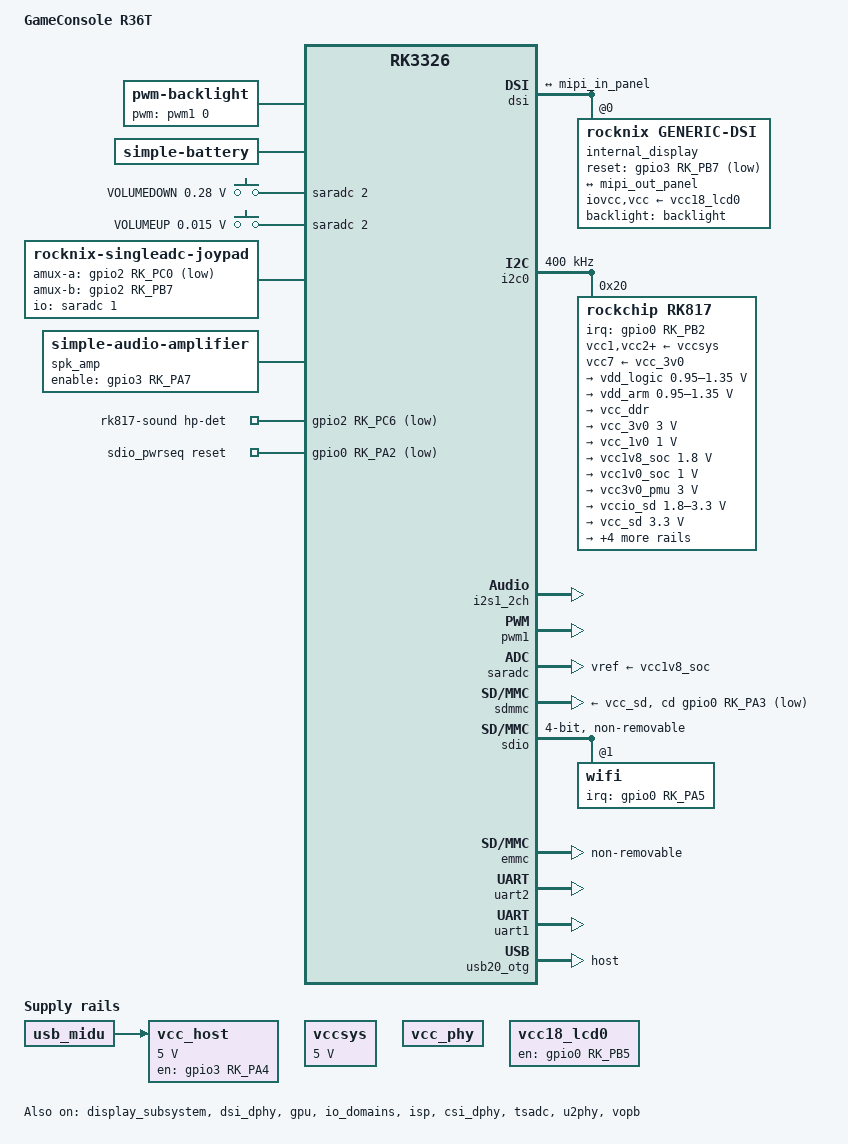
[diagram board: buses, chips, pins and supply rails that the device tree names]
// SPDX-License-Identifier: (GPL-2.0+ OR MIT)
/*
* Copyright (c) 2019 Hardkernel Co., Ltd
* Copyright (c) 2020 Theobroma Systems Design und Consulting GmbH
* Copyright (c) 2022 Maya Matuszczyk <maccraft123mc@gmail.com>
*/

/dts-v1/;
#include <dt-bindings/gpio/gpio.h>
#include <dt-bindings/input/input.h>
#include <dt-bindings/leds/common.h>
#include <dt-bindings/pinctrl/rockchip.h>
#include "rk3326.dtsi"

/ {
	model = "GameConsole R36T";
	compatible = "gameconsole,r36t", "rockchip,rk3326";
	
	aliases {
		mmc2 = &sdio;
		mmc1 = &sdmmc;
		mmc0 = &emmc;
	};
	
	chosen {
		systemd.debug_shell = "ttyS0";
	};
	
	backlight: backlight {
		compatible = "pwm-backlight";
		pwms = <&pwm1 0 25000 0>;
		brightness-levels = <
		0   1   2   3   4   5   6   7
		8   9  10  11  12  13  14  15
		16  17  18  19  20  21  22  23
		24  25  26  27  28  29  30  31
		32  33  34  35  36  37  38  39
		40  41  42  43  44  45  46  47
		48  49  50  51  52  53  54  55
		56  57  58  59  60  61  62  63
		64  65  66  67  68  69  70  71
		72  73  74  75  76  77  78  79
		80  81  82  83  84  85  86  87
		88  89  90  91  92  93  94  95
		96  97  98  99 100 101 102 103
		104 105 106 107 108 109 110 111
		112 113 114 115 116 117 118 119
		120 121 122 123 124 125 126 127
		128 129 130 131 132 133 134 135
		136 137 138 139 140 141 142 143
		144 145 146 147 148 149 150 151
		152 153 154 155 156 157 158 159
		160 161 162 163 164 165 166 167
		168 169 170 171 172 173 174 175
		176 177 178 179 180 181 182 183
		184 185 186 187 188 189 190 191
		192 193 194 195 196 197 198 199
		200 201 202 203 204 205 206 207
		208 209 210 211 212 213 214 215
		216 217 218 219 220 221 222 223
		224 225 226 227 228 229 230 231
		232 233 234 235 236 237 238 239
		240 241 242 243 244 245 246 247
		248 249 250 251 252 253 254 255>;
		default-brightness-level = <128>;
	};
	
	battery: battery {
		compatible = "simple-battery";
		charge-full-design-microamp-hours = <3000000>;
		charge-term-current-microamp = <200000>;
		constant-charge-current-max-microamp = <1500000>;
		constant-charge-voltage-max-microvolt = <4200000>;
		factory-internal-resistance-micro-ohms = <100000>;
		voltage-max-design-microvolt = <4100000>;
		voltage-min-design-microvolt = <3300000>;
		
		ocv-capacity-celsius = <20>;
		ocv-capacity-table-0 =
		<4046950 100>, <4001920 95>, <3967900 90>, <3940000 85>,
		<3910000 80>, <3870000 75>, <3830000 70>, <3790000 65>,
		<3750000 60>, <3720000 55>, <3690000 50>, <3650000 45>,
		<3610000 40>, <3570000 35>, <3540000 30>, <3500000 25>,
		<3460000 20>, <3420000 15>, <3380000 10>, <3340000 5>,
		<3300000 0>;
	};
	
	adc_keys: adc-keys {
		compatible = "adc-keys";
		io-channels = <&saradc 2>;
		io-channel-names = "buttons";
		keyup-threshold-microvolt = <1800000>;
		poll-interval = <60>;
		
		vol-down-key {
			label = "VOLUMEDOWN";
			linux,code = <KEY_VOLUMEDOWN>;
			press-threshold-microvolt = <280000>;
		};
		
		vol-up-key {
			label = "VOLUMEUP";
			linux,code = <KEY_VOLUMEUP>;
			press-threshold-microvolt = <15000>;
		};
	};
	
	joypad: rocknix-singleadc-joypad {
		compatible = "rocknix-singleadc-joypad";
		
		joypad-name = "retrogame_joypad";
		joypad-product = <0x1101>;
		joypad-revision = <0x0100>;
		joypad-vendor = <0x484B>;
		
		status = "okay";
		
		/* gpio pincontrol setup */
		pinctrl-names = "default";
		pinctrl-0 = <&btn_pins_ctrl>;
		
		/* Analog mux define */
		io-channel-names = "amux_adc";
		io-channels = <&saradc 1>;
		
		/* adc mux channel count */
		amux-count = <4>;
		amux-channel-mapping = <2 3 1 0>;
		/* adc mux select(a,b) gpio */
		amux-a-gpios = <&gpio2 RK_PC0 GPIO_ACTIVE_LOW>;
		amux-b-gpios = <&gpio2 RK_PB7 GPIO_ACTIVE_HIGH>;
		/* adc mux enable gpio */
		// amux-en-gpios = <&gpio2 RK_PB4 GPIO_ACTIVE_LOW>;
		
		/* adc calculate scale */
		button-adc-scale = <2>;
		
		/* adc deadzone range  */
		button-adc-deadzone = <64>;
		
		/*
		specifies fuzz value that is used to filter noise from
		the event stream.
		*/
		button-adc-fuzz = <32>;
		button-adc-flat = <32>;
		
		/*
		Analog Stick data tuning value(precent)
		p = positive direction, n = negative direction
		report value = (real_adc_data * tuning_value) / 100
		*/
		abs_x-p-tuning = <200>;
		abs_x-n-tuning = <200>;
		
		abs_y-p-tuning = <200>;
		abs_y-n-tuning = <200>;
		
		abs_rx-p-tuning = <200>;
		abs_rx-n-tuning = <200>;
		
		abs_ry-p-tuning = <200>;
		abs_ry-n-tuning = <200>;
		
		/* poll device interval (ms), adc read interval */
		poll-interval = <10>;
		
		/* required for RG351MP */
		invert-absx;
		invert-absy;
		
		/* gpio button auto repeat set value : default disable */
		/*
		autorepeat;
		*/
		
		/*
		*** MagicX XU10 - layoout ***
		|-------------------------------|
		| sw14  sw17         sw16  sw15 |
		|-----|-------------------|-----|
		|     |                   |     |
		|vol+ |                   | sw13|
		|vol- |                   |     |
		|     |    LCD Display    |     |
		|     |                   |     |
		|     |                   |     |
		|     |-------------------|     |
		|         sw9     sw10          |
		|                               |
		|     sw1              sw7      |
		|  sw3   sw4        sw8   sw6   |
		|     sw2              sw5      |
		|                               |
		|          sw11   sw12          |
		|                               |
		|-------|---------------|-------|
		*/
		
		/*
		joypad driver is poll-device driver.
		poll-device is does not support wakeup-source.
		*/
		sw1 {
			gpios = <&gpio3 RK_PC6 GPIO_ACTIVE_LOW>;
			label = "GPIO DPAD-UP";
			linux,code = <BTN_DPAD_UP>;
		};
		sw2 {
			gpios = <&gpio3 RK_PC7 GPIO_ACTIVE_LOW>;
			label = "GPIO DPAD-DOWN";
			linux,code = <BTN_DPAD_DOWN>;
		};
		sw3 {
			gpios = <&gpio3 RK_PC4 GPIO_ACTIVE_LOW>;
			label = "GPIO DPAD-LEFT";
			linux,code = <BTN_DPAD_LEFT>;
		};
		sw4 {
			gpios = <&gpio3 RK_PC5 GPIO_ACTIVE_LOW>;
			label = "GPIO DPAD-RIGHT";
			linux,code = <BTN_DPAD_RIGHT>;
		};
		sw5 {
			gpios = <&gpio3 RK_PC0 GPIO_ACTIVE_LOW>;
			label = "GPIO BTN-A";
			linux,code = <BTN_EAST>;
		};
		sw6 {
			gpios = <&gpio3 RK_PC1 GPIO_ACTIVE_LOW>;
			label = "GPIO BTN-B";
			linux,code = <BTN_SOUTH>;
		};
		sw7 {
			gpios = <&gpio3 RK_PC3 GPIO_ACTIVE_LOW>;
			label = "GPIO BTN-Y";
			linux,code = <BTN_WEST>;
		};
		sw8 {
			gpios = <&gpio3 RK_PC2 GPIO_ACTIVE_LOW>;
			label = "GPIO BTN-X";
			linux,code = <BTN_NORTH>;
		};
		sw9 {
			gpios = <&gpio3 RK_PD0 GPIO_ACTIVE_LOW>;
			label = "BTN_SELECT";
			linux,code = <BTN_SELECT>;
		};
		sw10 {
			gpios = <&gpio3 RK_PD1 GPIO_ACTIVE_LOW>;
			label = "BTN_START";
			linux,code = <BTN_START>;
		};
		/* this sw11 entry is SPECIAL, most RK3566 devices do not have
		this physical button but for the sake of keeping compatibility
		with ES and retroarch, this phantom button and offset will
		allow existing userspace programs to work without doing any
		new remapping thus saving lots of headaches and extra work */
		sw11 {
			gpios = <&gpio3 RK_PB2 GPIO_ACTIVE_LOW>;
			label = "GPIO BTN_F";
			linux,code = <BTN_MODE>;
		};
		sw12 {
			gpios = <&gpio2 RK_PB5 GPIO_ACTIVE_LOW>;
			label = "BTN_THUMBL";
			linux,code = <BTN_THUMBL>;
		};
		sw13 {
			gpios = <&gpio2 RK_PB6 GPIO_ACTIVE_LOW>;
			label = "BTN_THUMBR";
			linux,code = <BTN_THUMBR>;
		};
		sw14 {
			gpios = <&gpio3 RK_PB3 GPIO_ACTIVE_LOW>;
			label = "GPIO BTN_TR";
			linux,code = <BTN_TR>;
		};
		sw15 {
			gpios = <&gpio3 RK_PB4 GPIO_ACTIVE_LOW>;
			label = "GPIO BTN_TR2";
			linux,code = <BTN_TR2>;
		};
		sw16 {
			gpios = <&gpio3 RK_PB5 GPIO_ACTIVE_LOW>;
			label = "GPIO BTN_TL";
			linux,code = <BTN_TL>;
		};
		sw17 {
			gpios = <&gpio3 RK_PB6 GPIO_ACTIVE_LOW>;
			label = "GPIO BTN_TL2";
			linux,code = <BTN_TL2>;
		};
	};
	
	spk_amp: audio-amplifier {
		compatible = "simple-audio-amplifier";
		enable-gpios = <&gpio3 RK_PA7 GPIO_ACTIVE_HIGH>;
		pinctrl-0 = <&spk_amp_enable_h>;
		pinctrl-names = "default";
		sound-name-prefix = "Speaker Amp";
	};
	
	rk817-sound {
		compatible = "simple-audio-card";
		pinctrl-names = "default";
		pinctrl-0 = <&hp_det>;
		simple-audio-card,name = "rk817_ext";
		simple-audio-card,aux-devs = <&spk_amp>;
		simple-audio-card,format = "i2s";
		simple-audio-card,hp-det-gpio = <&gpio2 RK_PC6 GPIO_ACTIVE_LOW>;
		simple-audio-card,mclk-fs = <256>;
		simple-audio-card,widgets =
		"Microphone", "Mic Jack",
		"Headphone", "Headphones",
		"Speaker", "Speaker";
		simple-audio-card,routing =
		"MICL", "Mic Jack",
		"Headphones", "HPOL",
		"Headphones", "HPOR",
		"Speaker", "SPKO";
		
		simple-audio-card,codec {
			sound-dai = <&rk817>;
		};
		
		simple-audio-card,cpu {
			sound-dai = <&i2s1_2ch>;
		};
	};
	
	vccsys: vccsys {
		compatible = "regulator-fixed";
		regulator-name = "vcc3v8_sys";
		regulator-always-on;
		regulator-boot-on;
		regulator-min-microvolt = <5000000>;
		regulator-max-microvolt = <5000000>;
	};
	
	vcc-phy-regulator {
		compatible = "regulator-fixed";
		regulator-name = "vcc_phy";
		regulator-always-on;
		regulator-boot-on;
	};
	
	vcc18_lcd0: vcc18-lcd0 {
		compatible = "regulator-fixed";
		regulator-name = "vcc18_lcd0_n";
		gpio = <&gpio0 RK_PB5 GPIO_ACTIVE_HIGH>;
		enable-active-high;
		pinctrl-0 = <&vcc18_lcd_n>;
		pinctrl-names = "default";
		regulator-boot-on;
		
		regulator-state-mem {
			regulator-off-in-suspend;
		};
	};
	
	vcc_host: vcc_host {
		compatible = "regulator-fixed";
		regulator-name = "vcc_host";
		regulator-min-microvolt = <5000000>;
		regulator-max-microvolt = <5000000>;
		gpio = <&gpio3 RK_PA4 GPIO_ACTIVE_HIGH>;
		pinctrl-0 = <&vcc5_usb>;
		pinctrl-names = "default";
		enable-active-high;
		regulator-always-on;
		regulator-boot-on;
		vin-supply = <&usb_midu>;
	};
	sdio_pwrseq: sdio-pwrseq {
		compatible = "mmc-pwrseq-simple";
		/*clocks = <&rk817 1>;
		clock-names = "ext_clock";
		*/
		pinctrl-0 = <&wifi_enable_h>;
		pinctrl-names = "default";
		post-power-on-delay-ms = <2000>;
		reset-gpios = <&gpio0 RK_PA2 GPIO_ACTIVE_LOW>;
	};
	
};

&dmc {
	center-supply = <&vdd_logic>;
};

&cpu0 {
	cpu-supply = <&vdd_arm>;
};

&cpu1 {
	cpu-supply = <&vdd_arm>;
};

&cpu2 {
	cpu-supply = <&vdd_arm>;
};

&cpu3 {
	cpu-supply = <&vdd_arm>;
};

&cru {
	assigned-clocks = <&cru PLL_NPLL>,
	<&cru ACLK_BUS_PRE>, <&cru ACLK_PERI_PRE>,
	<&cru HCLK_BUS_PRE>, <&cru HCLK_PERI_PRE>,
	<&cru PCLK_BUS_PRE>, <&cru SCLK_GPU>;
	
	assigned-clock-rates = <1188000000>,
	<200000000>, <200000000>,
	<150000000>, <150000000>,
	<100000000>, <200000000>;
};

&display_subsystem {
	status = "okay";
};

&dsi {
	status = "okay";
	
	ports {
		mipi_out: port@1 {
			reg = <1>;
			
			mipi_out_panel: endpoint {
				remote-endpoint = <&mipi_in_panel>;
			};
		};
	};
	
	internal_display: panel@0 {
		compatible = "rocknix,generic-dsi";
		iovcc-supply = <&vcc18_lcd0>;
		vcc-supply = <&vcc18_lcd0>;
		reg = <0>;
		backlight = <&backlight>;
		reset-gpios = <&gpio3 RK_PB7 GPIO_ACTIVE_LOW>;
		pinctrl-names = "default";
		pinctrl-0 = <&lcd_rst>;
		panel_description =
		"G size=153,85 delays=20,20,20,120,20 format=rgb888 lanes=4 flags=0xe03",
		
		"M clock=30000 horizontal=640,46,2,44 vertical=480,16,2,14 default=1",
		"M clock=19950 horizontal=640,46,11,44 vertical=480,16,29,14",
		"M clock=19110 horizontal=640,46,5,44 vertical=480,16,10,14",
		"M clock=19650 horizontal=640,46,33,44 vertical=480,16,5,14",
		"M clock=22080 horizontal=640,46,20,44 vertical=480,16,2,14",
		"M clock=26740 horizontal=640,46,10,44 vertical=480,16,95,14",
		"M clock=23940 horizontal=640,46,11,44 vertical=480,16,29,14",
		"M clock=23040 horizontal=640,46,20,44 vertical=480,16,2,14",
		"M clock=22920 horizontal=640,46,2,44 vertical=480,16,11,14",
		"M clock=35310 horizontal=640,46,32,44 vertical=480,16,104,14",
		"M clock=34560 horizontal=640,46,20,44 vertical=480,16,2,14",
		"M clock=46080 horizontal=640,46,20,44 vertical=480,16,2,14",
		
		"I seq=ff30", "I seq=ff52", "I seq=ff01",
		"I seq=e300",
		"I seq=2510",
		"I seq=286f", "I seq=2901", "I seq=2adf", "I seq=2c22",
		"I seq=c30f",
		"I seq=379c",
		"I seq=38a7", "I seq=3941",
		"I seq=8020",
		"I seq=9167", "I seq=9267",
		"I seq=a055", "I seq=a150", "I seq=a358", "I seq=a49c", "I seq=a702",
		"I seq=a801", "I seq=a921", "I seq=aafc", "I seq=ab28", "I seq=ac06", "I seq=ad06", "I seq=ae06", "I seq=af03",
		"I seq=b008", "I seq=b126", "I seq=b228", "I seq=b328", "I seq=b403", "I seq=b508", "I seq=b626", "I seq=b708",
		"I seq=b826",
		"I seq=c000", "I seq=c100", "I seq=c200",
		"I seq=ff30", "I seq=ff52", "I seq=ff02",
		"I seq=b002",
		"I seq=d002",
		"I seq=b10f",
		"I seq=d110",
		"I seq=b211",
		"I seq=d212",
		"I seq=b332",
		"I seq=d333",
		"I seq=b436",
		"I seq=d436",
		"I seq=b53c",
		"I seq=d53c",
		"I seq=b620",
		"I seq=d620",
		"I seq=b73e",
		"I seq=d73e",
		"I seq=b80e",
		"I seq=d80d",
		"I seq=b905",
		"I seq=d905",
		"I seq=ba11",
		"I seq=da12",
		"I seq=bb11",
		"I seq=db11",
		"I seq=bc13",
		"I seq=dc14",
		"I seq=bd14",
		"I seq=dd14",
		"I seq=be16",
		"I seq=de18",
		"I seq=bf0e",
		"I seq=df0f",
		"I seq=c017",
		"I seq=e017",
		"I seq=c107",
		"I seq=e108",
		"I seq=ff30", "I seq=ff52", "I seq=ff03",
		"I seq=088a", "I seq=098b",
		"I seq=3000", "I seq=3100", "I seq=3200", "I seq=3300", "I seq=3461", "I seq=35d4", "I seq=3624", "I seq=3703",
		"I seq=4086", "I seq=4187", "I seq=4284", "I seq=4385", "I seq=4411", "I seq=45de", "I seq=46dd", "I seq=4711",
		"I seq=48e0", "I seq=49df",
		"I seq=5082", "I seq=5183", "I seq=5280", "I seq=5381", "I seq=5411", "I seq=55e2", "I seq=56e1", "I seq=5711",
		"I seq=58e4", "I seq=59e3",
		"I seq=820f", "I seq=830f", "I seq=8400", "I seq=850f", "I seq=860f", "I seq=870e",
		"I seq=880e", "I seq=8906", "I seq=8a06", "I seq=8b07", "I seq=8c07", "I seq=8d04", "I seq=8e04", "I seq=8f05",
		"I seq=9005",
		"I seq=980f", "I seq=990f", "I seq=9a00", "I seq=9b0f", "I seq=9c0f", "I seq=9d0e", "I seq=9e0e", "I seq=9f06",
		"I seq=a006", "I seq=a107", "I seq=a207", "I seq=a304", "I seq=a404", "I seq=a505", "I seq=a605",
		"I seq=e002", "I seq=e152",
		"I seq=ff30", "I seq=ff52", "I seq=ff00",
		"I seq=3602",
		"I seq=11 wait=200",
		"I seq=29 wait=100";
		port {
			mipi_in_panel: endpoint {
				remote-endpoint = <&mipi_out_panel>;
			};
		};
	};
};

&dsi_dphy {
	status = "okay";
};

&gpu {
	mali-supply = <&vdd_logic>;
	status = "okay";
};

&i2c0 {
	clock-frequency = <400000>;
	i2c-scl-falling-time-ns = <16>;
	i2c-scl-rising-time-ns = <280>;
	status = "okay";
	
	rk817: pmic@20 {
		compatible = "rockchip,rk817";
		reg = <0x20>;
		interrupt-parent = <&gpio0>;
		interrupts = <RK_PB2 IRQ_TYPE_LEVEL_LOW>;
		clock-output-names = "rk808-clkout1", "xin32k";
		clock-names = "mclk";
		clocks = <&cru SCLK_I2S1_OUT>;
		pinctrl-names = "default";
		pinctrl-0 = <&pmic_int>, <&i2s1_2ch_mclk>;
		rockchip,system-power-controller;
		wakeup-source;
		#clock-cells = <1>;
		#sound-dai-cells = <0>;
		
		vcc1-supply = <&vccsys>;
		vcc2-supply = <&vccsys>;
		vcc3-supply = <&vccsys>;
		vcc4-supply = <&vccsys>;
		vcc5-supply = <&vccsys>;
		vcc6-supply = <&vccsys>;
		vcc7-supply = <&vcc_3v0>;
		vcc8-supply = <&vccsys>;
		
		regulators {
			vdd_logic: DCDC_REG1 {
				regulator-name = "vdd_logic";
				regulator-min-microvolt = <950000>;
				regulator-max-microvolt = <1350000>;
				regulator-initial-mode = <0x02>;
				regulator-ramp-delay = <6001>;
				regulator-always-on;
				regulator-boot-on;
				
				regulator-state-mem {
					regulator-on-in-suspend;
					regulator-suspend-microvolt = <950000>;
				};
			};
			
			vdd_arm: DCDC_REG2 {
				regulator-name = "vdd_arm";
				regulator-min-microvolt = <950000>;
				regulator-max-microvolt = <1350000>;
				regulator-ramp-delay = <6001>;
				regulator-initial-mode = <0x02>;
				regulator-always-on;
				regulator-boot-on;
				
				regulator-state-mem {
					regulator-off-in-suspend;
					regulator-suspend-microvolt = <950000>;
				};
			};
			
			vcc_ddr: DCDC_REG3 {
				regulator-name = "vcc_ddr";
				regulator-always-on;
				regulator-boot-on;
				regulator-initial-mode = <0x02>;
				
				regulator-state-mem {
					regulator-on-in-suspend;
				};
			};
			
			vcc_3v0: DCDC_REG4 {
				regulator-name = "vcc_3v0";
				regulator-min-microvolt = <3000000>;
				regulator-max-microvolt = <3000000>;
				regulator-initial-mode = <0x02>;
				regulator-always-on;
				regulator-boot-on;
				
				regulator-state-mem {
					regulator-off-in-suspend;
					regulator-suspend-microvolt = <3000000>;
				};
			};
			
			vcc_1v0: LDO_REG1 {
				regulator-name = "vcc_1v0";
				regulator-always-on;
				regulator-boot-on;
				regulator-min-microvolt = <1000000>;
				regulator-max-microvolt = <1000000>;
				
				regulator-state-mem {
					regulator-on-in-suspend;
					regulator-suspend-microvolt = <1000000>;
				};
			};
			
			vcc1v8_soc: LDO_REG2 {
				regulator-name = "vcc1v8_soc";
				regulator-min-microvolt = <1800000>;
				regulator-max-microvolt = <1800000>;
				regulator-always-on;
				regulator-boot-on;
				
				regulator-state-mem {
					regulator-on-in-suspend;
					regulator-suspend-microvolt = <1800000>;
				};
			};
			
			vcc1v0_soc: LDO_REG3 {
				regulator-name = "vcc1v0_soc";
				regulator-min-microvolt = <1000000>;
				regulator-max-microvolt = <1000000>;
				regulator-always-on;
				regulator-boot-on;
				
				regulator-state-mem {
					regulator-on-in-suspend;
					regulator-suspend-microvolt = <1000000>;
				};
			};
			
			vcc3v0_pmu: LDO_REG4 {
				regulator-name = "vcc3v0_pmu";
				regulator-min-microvolt = <3000000>;
				regulator-max-microvolt = <3000000>;
				regulator-always-on;
				regulator-boot-on;
				
				regulator-state-mem {
					regulator-on-in-suspend;
					regulator-suspend-microvolt = <3000000>;
				};
			};
			
			vccio_sd: LDO_REG5 {
				regulator-name = "vccio_sd";
				regulator-min-microvolt = <1800000>;
				regulator-max-microvolt = <3300000>;
				regulator-always-on;
				regulator-boot-on;
				
				regulator-state-mem {
					regulator-on-in-suspend;
					regulator-suspend-microvolt = <3300000>;
				};
			};
			
			vcc_sd: LDO_REG6 {
				regulator-name = "vcc_sd";
				regulator-min-microvolt = <3300000>;
				regulator-max-microvolt = <3300000>;
				
				regulator-state-mem {
					regulator-on-in-suspend;
					regulator-suspend-microvolt = <3300000>;
				};
			};
			
			vcc2v8_dvp: LDO_REG7 {
				regulator-name = "vcc2v8_dvp";
				regulator-min-microvolt = <1800000>;
				regulator-max-microvolt = <3300000>;
				regulator-always-on;
				regulator-boot-on;
				
				regulator-state-mem {
					regulator-on-in-suspend;
					regulator-suspend-microvolt = <3300000>;
				};
			};
			
			vcc3v0_dvp: LDO_REG8 {
				regulator-name = "vcc3v0_dvp";
				regulator-min-microvolt = <3300000>;
				regulator-max-microvolt = <3300000>;
				regulator-always-on;
				regulator-boot-on;
				
				regulator-state-mem {
					regulator-on-in-suspend;
					regulator-suspend-microvolt = <3300000>;
				};
			};
			
			vdd1v5_dvp: LDO_REG9 {
				regulator-min-microvolt = <1500000>;
				regulator-max-microvolt = <1500000>;
				regulator-name = "vdd1v5_dvp";
				regulator-always-on;
				regulator-boot-on;
				
				regulator-state-mem {
					regulator-off-in-suspend;
					regulator-suspend-microvolt = <1500000>;
				};
			};
			
			usb_midu: BOOST {
				regulator-name = "usb_midu";
				regulator-min-microvolt = <4700000>;
				regulator-max-microvolt = <5400000>;
				regulator-always-on;
				regulator-boot-on;
			};
			
		};
		
		rk817_charger: charger {
			monitored-battery = <&battery>;
			rockchip,resistor-sense-micro-ohms = <10000>;
			rockchip,sleep-enter-current-microamp = <300000>;
			rockchip,sleep-filter-current-microamp = <100000>;
		};
		
		rk817_codec: codec {
			rockchip,mic-in-differential;
		};
	};
};

/* I2S 1 Channel Used Header(P2):1(GPIO2.C3),2(.C2), 3(.C1), 4(.C5), 5(.C4) */
&i2s1_2ch {
	status = "okay";
	#sound-dai-cells = <0>;
};

&io_domains {
	vccio1-supply = <&vcc2v8_dvp>;
	vccio2-supply = <&vccio_sd>;
	vccio3-supply = <&vcc1v8_soc>;
	vccio4-supply = <&vcc_3v0>;
	vccio5-supply = <&vcc_3v0>;
	vccio6-supply = <&vcc1v8_soc>;
	status = "okay";
};

&isp {
	status = "okay";
};

&isp_mmu {
	status = "okay";
};

&pmu_io_domains {
	pmuio1-supply = <&vcc3v0_pmu>;
	pmuio2-supply = <&vcc3v0_pmu>;
	status = "okay";
};

&csi_dphy {
	status = "okay";
};

&pwm1 {
	status = "okay";
};

&saradc {
	vref-supply = <&vcc1v8_soc>;
	status = "okay";
};

&sdmmc {
	cap-sd-highspeed;
	card-detect-delay = <200>;
	cd-gpios = <&gpio0 RK_PA3 GPIO_ACTIVE_LOW>; /*[> ff370000 PD_SDCARD CD GPIO <]*/
	sd-uhs-sdr12;
	sd-uhs-sdr25;
	sd-uhs-sdr50;
	sd-uhs-sdr104;
	vmmc-supply = <&vcc_sd>;
	vqmmc-supply = <&vccio_sd>;
	status = "okay";
};

&sdio {
    #address-cells = <1>;
    #size-cells = <0>;
	bus-width = <4>;
	disable-wp;
	max-frequency = <0x2faf080>;
	keep-power-in-suspend;
	mmc-pwrseq = <&sdio_pwrseq>;
	no-mmc;
	no-sd;
	cap-sdio-irq;
	non-removable;
	cap-sd-highspeed;
	supports-sdio;
	supports-rk912;
	status = "okay";
	wifi@1 {
		reg = <1>;
		interrupt-names = "host-wake";
		interrupt-parent = <&gpio0>;
		interrupts = <RK_PA5 IRQ_TYPE_LEVEL_HIGH>;
		pinctrl-0 = <&wifi_host_wake_l>;
		pinctrl-names = "default";
	};
};

&emmc {
	no-sdio;
	no-sd;
	disable-wp;
	non-removable;
	num-slots = <0x01>;
	status = "okay";
};

&tsadc {
	status = "okay";
};

&u2phy {
	status = "okay";
	
	u2phy_host: host-port {
		status = "okay";
	};
	
	u2phy_otg: otg-port {
		status = "okay";
	};
};

/* FIQ Header(P2): 2(RXD:GPIO2.B4),3(TXD:.B6) */
&uart2 {
	status = "okay";
	dma-names = "tx";
	pinctrl-0 = <&uart2m1_xfer>;
};

&uart1 {
	status = "okay";
};

&usb20_otg {
	status = "okay";
	dr_mode = "host";
};

&vopb {
	status = "okay";
};

&vopb_mmu {
	status = "okay";
};

&uart2m1_xfer {
	rockchip,pins = <2 RK_PB4 2 &pcfg_pull_up>;
};

&pinctrl {
	btns {
		btn_pins_ctrl: btn-pins-ctrl {
			rockchip,pins =
			<3 RK_PC6 RK_FUNC_GPIO &pcfg_pull_up>,
			<3 RK_PC7 RK_FUNC_GPIO &pcfg_pull_up>,
			<3 RK_PC0 RK_FUNC_GPIO &pcfg_pull_up>,
			<3 RK_PC1 RK_FUNC_GPIO &pcfg_pull_up>,
			<3 RK_PC2 RK_FUNC_GPIO &pcfg_pull_up>,
			<3 RK_PC3 RK_FUNC_GPIO &pcfg_pull_up>,
			<3 RK_PC4 RK_FUNC_GPIO &pcfg_pull_up>,
			<3 RK_PC5 RK_FUNC_GPIO &pcfg_pull_up>,
			<3 RK_PD1 RK_FUNC_GPIO &pcfg_pull_up>,
			<3 RK_PB6 RK_FUNC_GPIO &pcfg_pull_up>,
			<3 RK_PD0 RK_FUNC_GPIO &pcfg_pull_up>,
			<3 RK_PB3 RK_FUNC_GPIO &pcfg_pull_up>,
			<3 RK_PB4 RK_FUNC_GPIO &pcfg_pull_up>,
			<3 RK_PB5 RK_FUNC_GPIO &pcfg_pull_up>,
			<3 RK_PB2 RK_FUNC_GPIO &pcfg_pull_up>,
			<2 RK_PB5 RK_FUNC_GPIO &pcfg_pull_up>,
			<2 RK_PB6 RK_FUNC_GPIO &pcfg_pull_up>,
			<2 RK_PB4 RK_FUNC_GPIO &pcfg_pull_up>,
			<2 RK_PB7 RK_FUNC_GPIO &pcfg_pull_up>,
			<2 RK_PC0 RK_FUNC_GPIO &pcfg_pull_up>;
		};
		
		btn_pins_vol: btn-pins-vol {
			rockchip,pins = <3 RK_PD2 RK_FUNC_GPIO &pcfg_pull_up>,
			<3 RK_PD3 RK_FUNC_GPIO &pcfg_pull_up>;
		};
	};
	
	headphone {
		hp_det: hp-det {
			rockchip,pins = <2 RK_PC6 RK_FUNC_GPIO &pcfg_pull_up>;
		};
	};
	
	gpio-lcd {
		lcd_rst: lcd-rst {
			rockchip,pins = <3 RK_PB7 RK_FUNC_GPIO &pcfg_pull_none>;
		};
	};
	
	vcc18-lcd {
		vcc18_lcd_n: vcc18-lcd-n {
			rockchip,pins = <3 RK_PA3 RK_FUNC_GPIO &pcfg_pull_none>;
		};
	};
	
	vcc5-usb {
		vcc5_usb: vcc5-usb {
			rockchip,pins = <3 RK_PA4 RK_FUNC_GPIO &pcfg_pull_none>;
		};
	};
	
	gpio-led {
		led_pins: led-pins {
			rockchip,pins =
			<0 RK_PC1 RK_FUNC_GPIO &pcfg_pull_none>,
			<0 RK_PA0 RK_FUNC_GPIO &pcfg_pull_none>;
		};
	};
	
	pmic {
		dc_det: dc-det {
			rockchip,pins = <0 RK_PB3 RK_FUNC_GPIO &pcfg_pull_none>;
		};
		
		pmic_int: pmic-int {
			rockchip,pins = <0 RK_PB2 RK_FUNC_GPIO &pcfg_pull_up>;
		};
		
		soc_slppin_gpio: soc_slppin_gpio {
			rockchip,pins = <0 RK_PA4 RK_FUNC_GPIO &pcfg_output_low>;
		};
		
		soc_slppin_rst: soc_slppin_rst {
			rockchip,pins = <0 RK_PA4 2 &pcfg_pull_none>;
		};
		
		soc_slppin_slp: soc_slppin_slp {
			rockchip,pins = <0 RK_PA4 1 &pcfg_pull_none>;
		};
	};
	
	speaker {
		spk_amp_enable_h: spk-amp-enable-h {
			rockchip,pins =
			<3 RK_PA7 RK_FUNC_GPIO &pcfg_pull_none>;
		};
	};
	sdio-pwrseq {
		wifi_enable_h: wifi-enable-h {
			rockchip,pins =
			<0 RK_PA2 RK_FUNC_GPIO &pcfg_pull_none>;
		};
		wifi_host_wake_l: wifi-host-wake-l {
			rockchip,pins = <0 RK_PA5 RK_FUNC_GPIO &pcfg_pull_down>;
		};
	};
};
